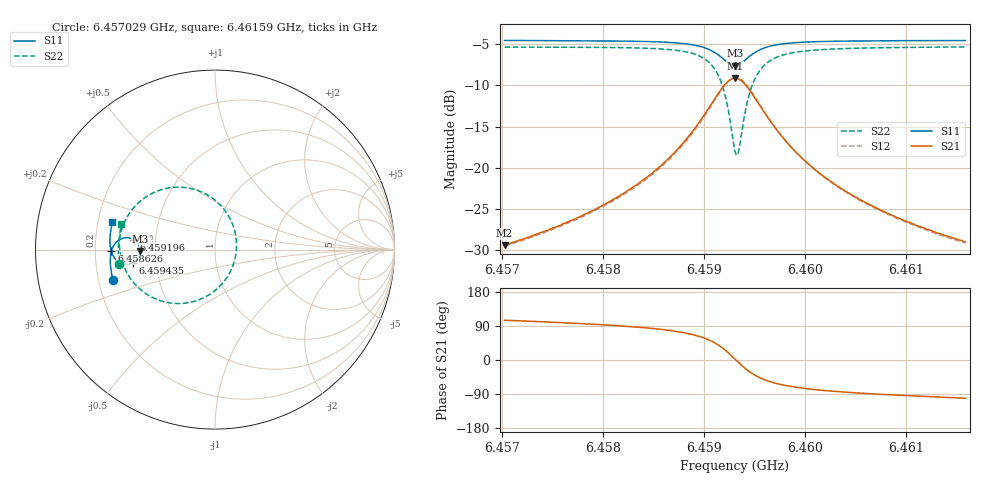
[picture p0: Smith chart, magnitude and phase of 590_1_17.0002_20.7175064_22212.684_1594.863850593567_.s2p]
#  HZ  S  RI  R  50.00
! Rohde & Schwarz Vector Network Analyzer
! Rohde-Schwarz,ZNB20-2Port,1311601062101988,3.16
! Created: UTC 3/20/2024, 11:18:35 PM
! freq[Hz]  re:S11  im:S11  re:S21  im:S21  re:S12  im:S12  re:S22  im:S22
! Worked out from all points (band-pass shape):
!   401 points, 6.457029 GHz to 6.46159 GHz, reference 50 ohm
!   highest |S21| = -9.13 dB at 6.45931 GHz (marker M1); lowest = -29.4 dB at 6.457029 GHz (marker M2)
!   |S21| within 3 dB of the highest: 6.459083 GHz to 6.459539 GHz (455.9 kHz wide, 0.00706 % of centre)
!   lowest |S11| = -7.6 dB at 6.45931 GHz (marker M3), VSWR 2.43, Z = 20.6 - j0.382 ohm
!   |S11| at or under -10 dB: nowhere
!   |S22| runs from -18.5 to -5.3 dB; largest |S21 - S12| = 0.014
!   S11 on the Smith chart (normalised r, x): 6.457029 GHz: 0.26, -0.14; 6.458626 GHz: 0.27, -0.01; 6.459196 GHz: 0.37, +0.05; 6.459435 GHz: 0.37, -0.07; 6.46159 GHz: 0.26, +0.12
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6.4570293e9  -0.5677 -0.1678  -0.00876 0.0328  -0.00695 0.0327  -0.5339 -0.0801
6.4577932e9  -0.5813 -0.101  -0.00525 0.0509  -0.00284 0.0503  -0.5385 0.00988
6.4582036e9  -0.5839 -0.0598  0.000436 0.0698  0.00376 0.0684  -0.53 0.0754
6.4585571e9  -0.5798 -0.0176  0.0149 0.0996  0.0189 0.0967  -0.5035 0.1553
6.4586255e9  -0.5775 -0.00807  0.0204 0.108  0.0244 0.1047  -0.4933 0.1754
6.4588193e9  -0.5647 0.0223  0.0472 0.1389  0.0513 0.1339  -0.4429 0.2448
6.4589676e9  -0.5419 0.0486  0.0928 0.1696  0.0959 0.1629  -0.3587 0.3092
6.4591044e9  -0.4979 0.0663  0.1804 0.1862  0.1813 0.1788  -0.1982 0.3479
6.4591956e9  -0.4528 0.0558  0.271 0.1548  0.2713 0.149  -0.0302 0.2972
6.459264e9  -0.4235 0.0236  0.3323 0.0826  0.3344 0.0772  0.0867 0.1668
6.4593096e9  -0.4164 -0.00766  0.3491 0.0139  0.3528 0.00712  0.1199 0.0383
6.4593438e9  -0.4202 -0.0317  0.3434 -0.0392  0.3474 -0.0483  0.1085 -0.0626
6.4593894e9  -0.4359 -0.0582  0.3145 -0.1  0.3169 -0.1118  0.0502 -0.1777
6.459435e9  -0.4582 -0.0749  0.2719 -0.1416  0.2711 -0.1551  -0.0361 -0.2539
6.4594806e9  -0.4813 -0.0819  0.2268 -0.1645  0.223 -0.1775  -0.1269 -0.2914
6.4595262e9  -0.5022 -0.082  0.1859 -0.1732  0.1797 -0.1849  -0.2081 -0.3006
6.4596744e9  -0.5463 -0.0613  0.0968 -0.1589  0.0881 -0.1651  -0.378 -0.2499
6.4598341e9  -0.5681 -0.0336  0.0515 -0.1303  0.0437 -0.1331  -0.4594 -0.1768
6.4600735e9  -0.5809 0.00204  0.0223 -0.0983  0.0161 -0.0989  -0.5075 -0.0932
6.4604041e9  -0.5853 0.0417  0.00641 -0.0718  0.00222 -0.0714  -0.5286 -0.0156
6.4608374e9  -0.5835 0.0856  -0.00162 -0.0523  -0.0044 -0.0515  -0.5329 0.0548
6.4615899e9  -0.5712 0.1524  -0.00667 -0.0349  -0.00838 -0.0339  -0.5214 0.1445
